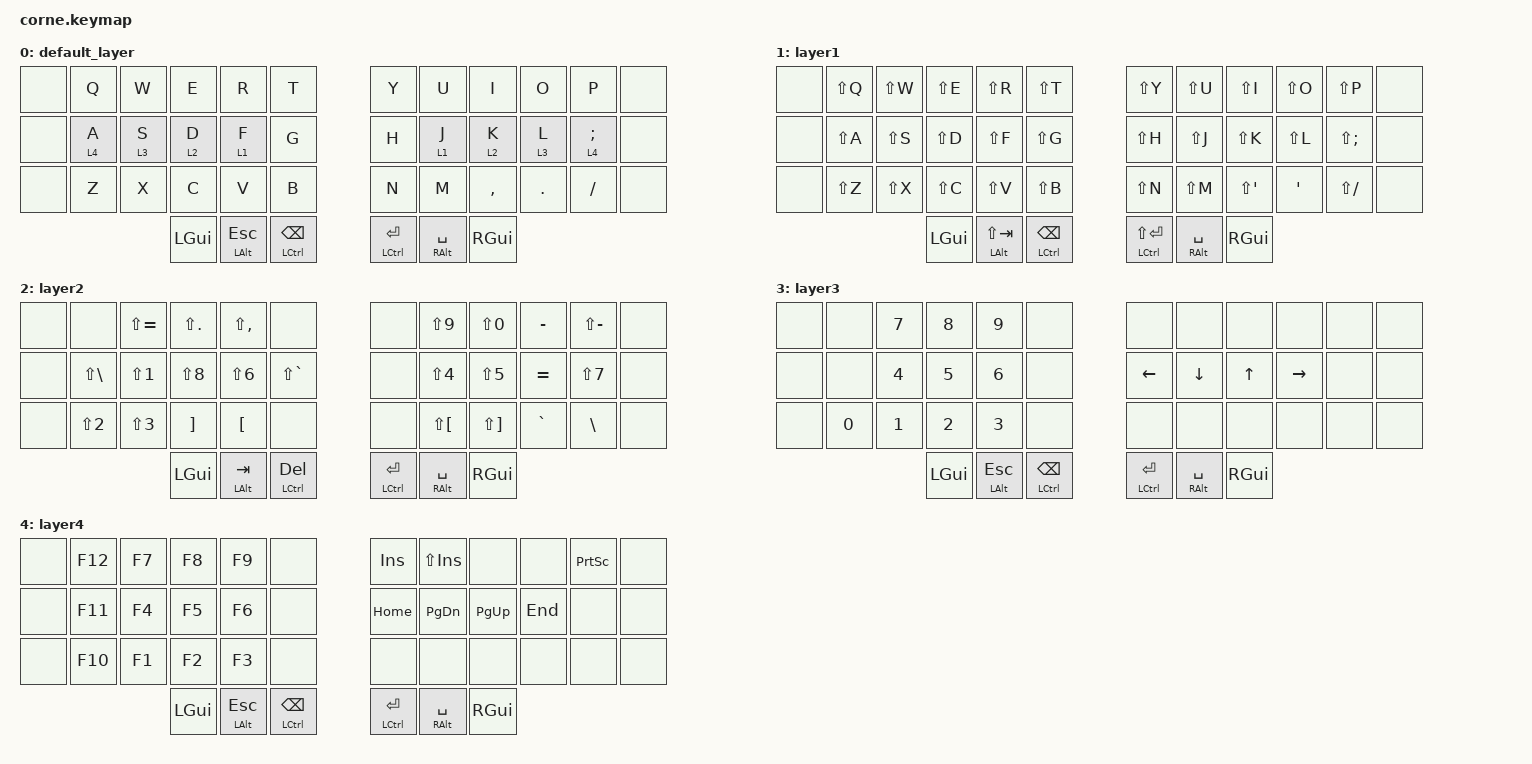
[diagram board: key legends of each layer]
/*
 * Copyright (c) 2020 The ZMK Contributors
 *
 * SPDX-License-Identifier: MIT
 */

#include <behaviors.dtsi>
#include <dt-bindings/zmk/keys.h>
#include <dt-bindings/zmk/bt.h>

//https://app.excalidraw.com/s/9d4b2LsdiR7/2HNcIzeyEEe

&lt {
      tapping-term-ms = <200>;
      flavor = "tap-preferred";
};

&mt {
      tapping-term-ms = <200>;
      flavor = "tap-preferred";
};

/ {
        keymap {
                compatible = "zmk,keymap";

                default_layer {
                        bindings = <
   &none   &kp Q &kp W &kp E &kp R &kp T   &kp Y &kp U  &kp I     &kp O   &kp P    &none
   &none &lt 4 A &lt 3 S &lt 2 D &lt 1 F &kp G   &kp H &lt 1 J  &lt 2 K     &lt 3 L   &lt 4 SEMI &none
   &none &kp Z &kp X &kp C &kp V &kp B   &kp N &kp M  &kp COMMA &kp PERIOD &kp SLASH &none
                  &kp LGUI &mt LALT ESC &mt LCTRL BSPC   &mt LCTRL ENTER &mt RALT SPACE &kp RGUI
                        >;
                };
                layer1 {
                        bindings = <
   &none   &kp LS(Q)  &kp LS(W)  &kp LS(E)  &kp LS(R)  &kp LS(T)    &kp LS(Y)  &kp LS(U)   &kp LS(I)      &kp LS(O)    &kp LS(P)     &none
   &none &kp LS(A) &kp LS(S) &kp LS(D) &kp LS(F) &kp LS(G)  &kp LS(H)  &kp LS(J) &kp LS(K) &kp LS(L) &kp LS(SEMI) &none
   &none &kp LS(Z)  &kp LS(X)  &kp LS(C)  &kp LS(V)  &kp LS(B)    &kp LS(N)  &kp LS(M)   &kp LS(SINGLE_QUOTE)  &kp SINGLE_QUOTE  &kp LS(SLASH)  &none
                  &kp LGUI &mt LALT LS(TAB) &mt LCTRL BSPC   &mt LCTRL LS(ENTER) &mt RALT SPACE &kp RGUI
                        >;
                };

                layer2 {
                        bindings = <
   &none &none  &kp LS(EQUAL) &kp LS(PERIOD) &kp LS(COMMA) &none  &none  &kp LS(N9)  &kp LS(N0)     &kp MINUS   &kp LS(MINUS)    &none
   &none &kp LS(BACKSLASH) &kp LS(N1) &kp LS(N8) &kp LS(N6) &kp  LS(GRAVE) &none &kp LS(N4)  &kp LS(N5)     &kp EQUAL   &kp LS(N7) &none
   &none &kp LS(N2) &kp LS(N3) &kp RIGHT_BRACKET &kp LEFT_BRACKET &none   &none &kp LS(LEFT_BRACKET)  &kp LS(RIGHT_BRACKET) &kp GRAVE &kp BACKSLASH &none
                  &kp LGUI &mt LALT TAB &mt LCTRL DEL   &mt LCTRL ENTER &mt RALT SPACE &kp RGUI
                        >;
                };

                layer3 {
                        bindings = <
   &none &none  &kp N7 &kp N8 &kp N9 &none  &none &none &none &none &none &none
   &none &none  &kp N4 &kp N5 &kp N6 &none  &kp LEFT &kp DOWN &kp UP &kp RIGHT &none &none
   &none &kp N0  &kp N1 &kp N2 &kp N3 &none  &none &none &none &none &none &none
                  &kp LGUI &mt LALT ESC &mt LCTRL BSPC   &mt LCTRL ENTER &mt RALT SPACE &kp RGUI
                        >;
                };

                layer4 {
                        bindings = <
   &none &kp F12  &kp F7 &kp F8 &kp F9 &none &kp INS &kp LS(INS) &none &none &kp PRINTSCREEN &none
   &none &kp F11  &kp F4 &kp F5 &kp F6 &none  &kp HOME &kp PAGE_DOWN &kp PAGE_UP &kp END &none &none
   &none &kp F10  &kp F1 &kp F2 &kp F3 &none  &none &none &none &none &none &none
                  &kp LGUI &mt LALT ESC &mt LCTRL BSPC   &mt LCTRL ENTER &mt RALT SPACE &kp RGUI
                        >;
                };
        };
};
